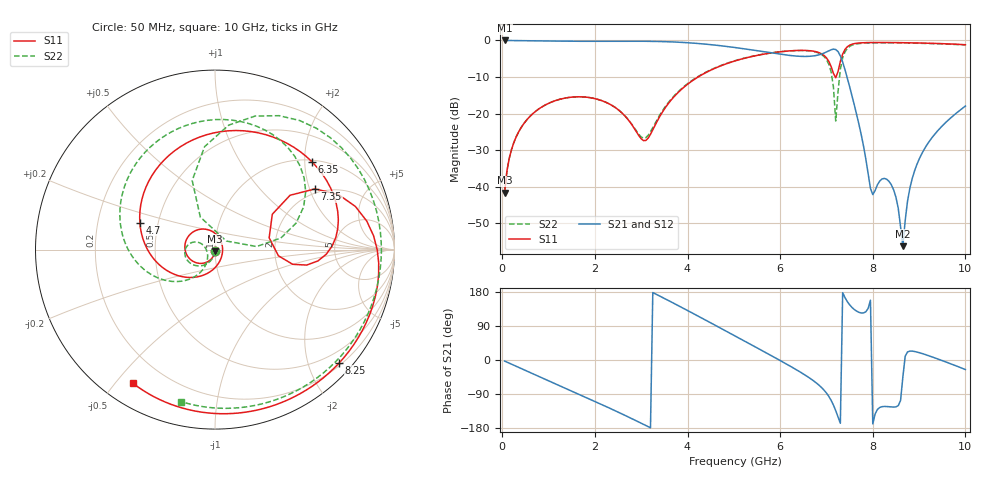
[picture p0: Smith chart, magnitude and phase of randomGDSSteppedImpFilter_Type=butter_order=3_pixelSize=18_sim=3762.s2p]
! freq	dB(S11)	phase(S11)	dB(S12)	phase(S12)
!  dB(S21)	phase(S21)	dB(S22)	phase(S22)
!S-par simulation data
#  GHz  S  DB  R 50
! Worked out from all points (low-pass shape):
!   200 points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, 50 MHz to 10 GHz, reference 50 ohm
!   highest |S21| = -0.01 dB at 50 MHz (marker M1); lowest = -56.3 dB at 8.65 GHz (marker M2)
!   |S21| within 3 dB of the highest: start of sweep to 5.599 GHz; 7.024 GHz to 7.246 GHz (221.4 MHz wide, 3.1 % of centre)
!   lowest |S11| = -41.6 dB at 50 MHz (marker M3), VSWR 1.02, Z = 50 - j0.827 ohm
!   |S11| at or under -10 dB: start of sweep to 4.228 GHz; 7.191432 GHz to 7.206133 GHz (14.7 MHz wide, 0.204 % of centre)
!   |S22| runs from -41.6 to -0.7 dB; largest |S21 - S12| = 0
!   S11 on the Smith chart (normalised r, x): 50 MHz: 1.00, -0.02; 4.7 GHz: 0.39, +0.15; 6.35 GHz: 1.04, +2.17; 7.35 GHz: 1.85, +2.18; 8.25 GHz: 0.25, -2.56; 10 GHz: 0.09, -0.55
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0.05  -41.64 -91.6  -0.01 -2.8  -0.01 -2.8  -41.63 -91.2
0.2  -29.80 -102.0  -0.02 -11.1  -0.02 -11.1  -29.80 -99.7
0.5  -22.18 -120.8  -0.06 -27.6  -0.06 -27.6  -22.16 -115.2
1.75  -15.45 161.7  -0.24 -95.6  -0.24 -95.6  -15.44 -174.4
3.05  -27.40 8.1  -0.23 -169.8  -0.23 -169.8  -26.75 -166.9
3.4  -20.82 -84.2  -0.29 168.7  -0.29 168.7  -20.42 -121.7
4.7  -7.04 160.3  -1.43 84.9  -1.43 84.9  -6.94 -172.5
5.05  -5.51 134.1  -1.98 61.9  -1.98 61.9  -5.44 167.8
6.35  -2.75 42.1  -4.28 -25.7  -4.28 -25.7  -2.78 86.2
6.7  -2.90 17.3  -4.27 -53.0  -4.27 -53.0  -2.99 58.9
7.05  -5.72 -9.6  -2.85 -95.9  -2.85 -95.9  -6.46 18.1
7.2  -10.21 12.3  -2.48 -133.7  -2.48 -133.7  -22.04 37.2
7.35  -3.71 31.2  -5.93 177.6  -5.93 177.6  -4.78 95.8
7.5  -1.31 10.6  -12.65 145.7  -12.65 145.7  -1.65 64.4
7.95  -0.58 -25.8  -40.46 157.8  -40.46 157.8  -0.69 17.1
8.25  -0.57 -42.4  -37.74 -122.6  -37.74 -122.6  -0.66 -4.1
8.35  -0.58 -47.5  -38.54 -123.3  -38.54 -123.3  -0.66 -10.5
8.5  -0.59 -54.7  -42.86 -123.7  -42.86 -123.7  -0.68 -19.8
8.65  -0.62 -61.7  -56.28 -44.8  -56.28 -44.8  -0.70 -28.8
8.8  -0.65 -68.5  -40.48 23.4  -40.48 23.4  -0.73 -37.5
9  -0.70 -77.4  -32.52 19.5  -32.52 19.5  -0.78 -48.7
10  -1.18 -121.7  -17.95 -25.2  -17.95 -25.2  -1.23 -102.5
